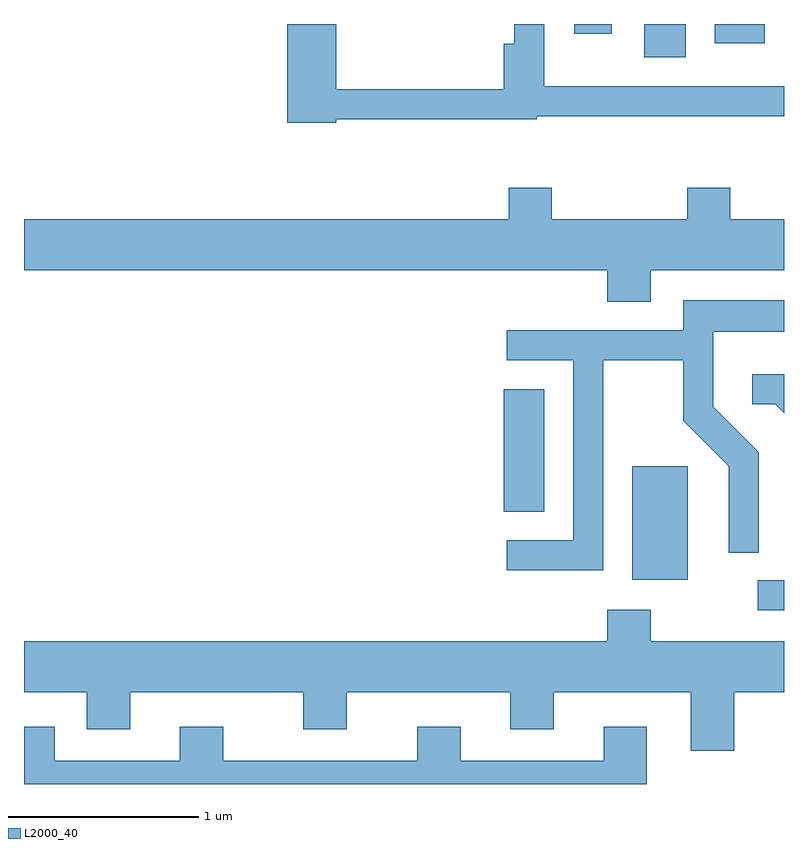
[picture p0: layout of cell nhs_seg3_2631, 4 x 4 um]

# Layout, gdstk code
import gdstk
lib = gdstk.Library(unit=1e-6, precision=1e-09)
def R(c, l, rs):  # rectangles x0, y0, x1, y1
    for r in rs: c.add(gdstk.rectangle(r[:2], r[2:], *l))
def P(c, l, *ps):  # polygons
    for p in ps: c.add(gdstk.Polygon(p, *l))
L2000_40 = (2000, 40)

nhs_seg3_2631 = lib.new_cell('nhs_seg3_2631')
R(nhs_seg3_2631, L2000_40, [(265.473,1210.806,265.611,1210.964), (264.811,1210.966,265.104,1211.564), (264.136,1211.326,264.349,1211.969), (264.876,1213.716,265.094,1213.892), (265.246,1213.791,265.509,1213.892), (264.506,1213.841,264.704,1213.892)])
P(nhs_seg3_2631, L2000_40, [(263.254,1213.391),(264.31,1213.391),(264.31,1213.406),(265.611,1213.406),(265.611,1213.564),(264.349,1213.564),(264.349,1213.892),(264.191,1213.892),(264.191,1213.789),(264.136,1213.789),(264.136,1213.549),(263.254,1213.549),(263.254,1213.892),(262.996,1213.892),(262.996,1213.371),(263.254,1213.371)],
  [(264.909,1212.596),(265.611,1212.596),(265.611,1212.864),(265.329,1212.864),(265.329,1213.029),(265.101,1213.029),(265.101,1212.864),(264.389,1212.864),(264.389,1213.029),(264.161,1213.029),(264.161,1212.864),(261.611,1212.864),(261.611,1212.596),(264.681,1212.596),(264.681,1212.431),(264.909,1212.431)],
  [(264.659,1212.121),(265.081,1212.121),(265.081,1211.804),(265.321,1211.564),(265.321,1211.108),(265.479,1211.108),(265.479,1211.637),(265.239,1211.877),(265.239,1212.271),(265.611,1212.271),(265.611,1212.439),(265.081,1212.439),(265.081,1212.279),(264.153,1212.279),(264.153,1212.121),(264.501,1212.121),(264.501,1211.174),(264.153,1211.174),(264.153,1211.016),(264.659,1211.016)],
  [(265.611,1212.049),(265.443,1212.049),(265.443,1211.891),(265.564,1211.891),(265.611,1211.844)],
  [(265.121,1210.066),(265.349,1210.066),(265.349,1210.376),(265.611,1210.376),(265.611,1210.644),(264.909,1210.644),(264.909,1210.809),(264.681,1210.809),(264.681,1210.644),(261.611,1210.644),(261.611,1210.376),(261.941,1210.376),(261.941,1210.181),(262.169,1210.181),(262.169,1210.376),(263.081,1210.376),(263.081,1210.181),(263.309,1210.181),(263.309,1210.376),(264.171,1210.376),(264.171,1210.181),(264.399,1210.181),(264.399,1210.376),(265.121,1210.376)],
  [(264.889,1210.194),(264.661,1210.194),(264.661,1210.014),(263.909,1210.014),(263.909,1210.194),(263.681,1210.194),(263.681,1210.014),(262.659,1210.014),(262.659,1210.194),(262.431,1210.194),(262.431,1210.014),(261.774,1210.014),(261.774,1210.194),(261.611,1210.194),(261.611,1209.892),(264.889,1209.892)])

lib.write_gds('nhs_seg3_2631.gds')
